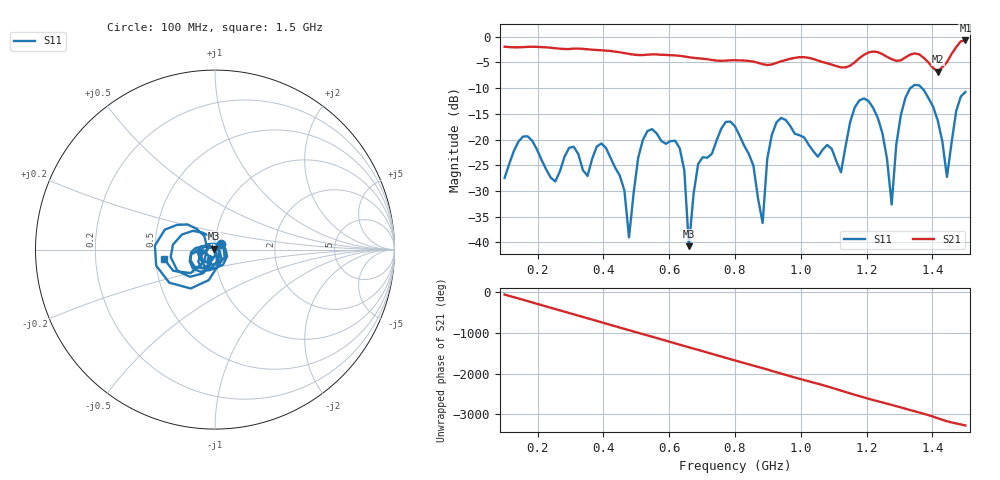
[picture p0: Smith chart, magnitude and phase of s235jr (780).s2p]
! NanoVNA-App
! Date: 2025-09-25 15:10:14
! Start: 100MHz Stop: 1,5GHz Points: 101
! S-Parameter data: F S11 S21 S12 S22
# Hz S RI R 50
!  Frequency  S11_Real  S11_Imag  S21_Real  S21_Imag  S12_Real  S12_Imag  S22_Real  S22_Imag
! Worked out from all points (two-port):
!   101 points, 100 MHz to 1.5 GHz, reference 50 ohm
!   highest |S21| = -0.75 dB at 1.5 GHz (marker M1); lowest = -6.8 dB at 1.416 GHz (marker M2)
!   |S21| within 3 dB of the highest: start of sweep to 634.2 MHz; 1.187 GHz to 1.257 GHz (69.76 MHz wide, 5.71 % of centre) (the widest 2 of 4)
!   lowest |S11| = -40.7 dB at 660 MHz (marker M3), VSWR 1.02, Z = 49.3 + j0.579 ohm
!   |S11| at or under -10 dB: start of sweep to 1.333 GHz; 1.368 GHz to end of sweep
!   S12 and S22 are empty: the file has one direction only
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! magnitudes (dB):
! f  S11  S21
! 100 MHz  -27.5  -2.0
! 156 MHz  -19.4  -2.0
! 338 MHz  -26.0  -2.4
! 408 MHz  -21.6  -2.7
! 478 MHz  -39.0  -3.4
! 520 MHz  -20.1  -3.6
! 576 MHz  -20.3  -3.5
! 632 MHz  -21.7  -3.7
! 660 MHz  -40.7  -4.0
! 688 MHz  -24.8  -4.2
! 800 MHz  -17.4  -4.6
! 884 MHz  -36.2  -5.4
! 926 MHz  -16.7  -5.1
! 1.038 GHz  -22.3  -4.3
! 1.122 GHz  -26.4  -6.0
! 1.206 GHz  -12.5  -3.1
! 1.276 GHz  -32.6  -4.4
! 1.304 GHz  -15.2  -4.6
! 1.332 GHz  -10.0  -3.5
! 1.416 GHz  -16.3  -6.8
! 1.444 GHz  -27.3  -5.0
! 1.5 GHz  -10.8  -0.8
